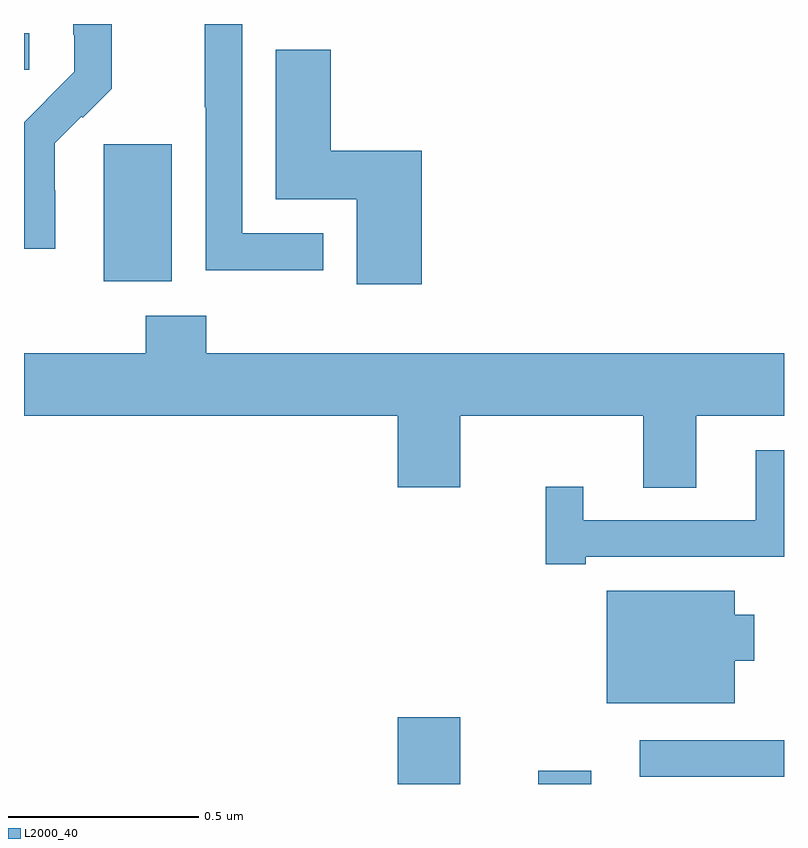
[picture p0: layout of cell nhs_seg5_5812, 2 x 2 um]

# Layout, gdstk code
import gdstk
lib = gdstk.Library(unit=1e-6, precision=1e-09)
def R(c, l, rs):  # rectangles x0, y0, x1, y1
    for r in rs: c.add(gdstk.rectangle(r[:2], r[2:], *l))
def P(c, l, *ps):  # polygons
    for p in ps: c.add(gdstk.Polygon(p, *l))
L2000_40 = (2000, 40)

nhs_seg5_5812 = lib.new_cell('nhs_seg5_5812')
R(nhs_seg5_5812, L2000_40, [(188.984,847.799,189.148,847.975), (189.353,847.799,189.493,847.834), (189.621,847.818,190,847.914), (188.21,849.122,188.389,849.483), (188,849.678,188.014,849.775)])
P(nhs_seg5_5812, L2000_40, [(188.082,849.362),(188.081,849.362),(188.081,849.485),(188.151,849.555),(188.154,849.552),(188.231,849.629),(188.231,849.799),(188.13,849.799),(188.13,849.771),(188.132,849.771),(188.132,849.674),(188.058,849.6),(188.059,849.599),(188,849.54),(188,849.208),(188.082,849.208)],
  [(188.788,849.249),(188.574,849.249),(188.574,849.799),(188.476,849.799),(188.476,849.58),(188.478,849.58),(188.478,849.151),(188.788,849.151)],
  [(189.047,849.466),(188.807,849.466),(188.807,849.731),(188.663,849.731),(188.663,849.338),(188.876,849.338),(188.876,849.114),(189.047,849.114)],
  [(189.769,848.768),(190,848.768),(190,848.932),(188.48,848.932),(188.48,849.031),(188.32,849.031),(188.32,848.932),(188,848.932),(188,848.768),(188.984,848.768),(188.984,848.58),(189.148,848.58),(189.148,848.768),(189.629,848.768),(189.629,848.578),(189.769,848.578)],
  [(189.478,848.397),(190,848.397),(190,848.677),(189.926,848.677),(189.926,848.493),(189.472,848.493),(189.472,848.581),(189.373,848.581),(189.373,848.377),(189.478,848.377)],
  [(189.871,848.123),(189.922,848.123),(189.922,848.245),(189.871,848.245),(189.871,848.308),(189.533,848.308),(189.533,848.012),(189.871,848.012)])

lib.write_gds('nhs_seg5_5812.gds')
